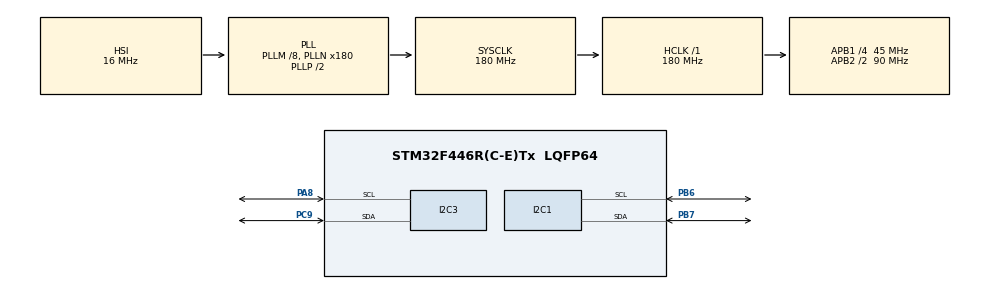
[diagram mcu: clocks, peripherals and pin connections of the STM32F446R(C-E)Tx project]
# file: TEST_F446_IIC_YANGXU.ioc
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Mcu.Family=STM32F4
Mcu.Name=STM32F446R(C-E)Tx
Mcu.Package=LQFP64
NVIC.PriorityGroup=NVIC_PRIORITYGROUP_4
PA13.Mode=Serial_Wire
PA13.Signal=SYS_JTMS-SWDIO
PA14.Mode=Serial_Wire
PA14.Signal=SYS_JTCK-SWCLK
PA8.Mode=I2C
PA8.Signal=I2C3_SCL
PB6.Mode=I2C
PB6.Signal=I2C1_SCL
PB7.Mode=I2C
PB7.Signal=I2C1_SDA
PC9.Mode=I2C
PC9.Signal=I2C3_SDA
PH0-OSC_IN.Mode=HSE-External-Oscillator
PH0-OSC_IN.Signal=RCC_OSC_IN
PH1-OSC_OUT.Mode=HSE-External-Oscillator
PH1-OSC_OUT.Signal=RCC_OSC_OUT
ProjectManager.HeapSize=0x200
ProjectManager.StackSize=0x400
ProjectManager.TargetToolchain=MDK-ARM V5
RCC.AHBFreq_Value=180000000
RCC.APB1CLKDivider=RCC_HCLK_DIV4
RCC.APB1Freq_Value=45000000
RCC.APB1TimFreq_Value=90000000
RCC.APB2CLKDivider=RCC_HCLK_DIV2
RCC.APB2Freq_Value=90000000
RCC.APB2TimFreq_Value=180000000
RCC.CortexFreq_Value=180000000
RCC.HCLKFreq_Value=180000000
RCC.PLLM=8
RCC.PLLN=180
RCC.SYSCLKFreq_VALUE=180000000
RCC.SYSCLKSource=RCC_SYSCLKSOURCE_PLLCLK
RCC.USBFreq_Value=180000000
RCC.VCOOutputFreq_Value=360000000
board=custom

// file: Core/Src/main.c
/* USER CODE BEGIN Header */
/**
  ******************************************************************************
  * @file           : main.c
  * @brief          : Main program body
  ******************************************************************************
  * @attention
  *
  * Copyright (c) 2023 STMicroelectronics.
  * All rights reserved.
  *
  * This software is licensed under terms that can be found in the LICENSE file
  * in the root directory of this software component.
  * If no LICENSE file comes with this software, it is provided AS-IS.
  *
  ******************************************************************************
  */
/* USER CODE END Header */
#include "main.h"
#include "i2c.h"
#include "gpio.h"

void SystemClock_Config(void);

/* USER CODE BEGIN 0 */
void WriteCmd(unsigned char I2C_Command)//写命令
	{
		HAL_I2C_Mem_Write(&hi2c1, 0x78, 0x00,I2C_MEMADD_SIZE_8BIT,&I2C_Command,1,10000);
	}

	void WriteDat(unsigned char fill_Data)
	{
		HAL_I2C_Mem_Write(&hi2c1, 0x78, 0x40,I2C_MEMADD_SIZE_8BIT,&fill_Data,1,10000);
	}
	void OLED_Fill(unsigned char fill_Data)//全屏填充
	{
		unsigned char m,n;
		for(m=0;m<8;m++)
		{
			WriteCmd(0xb0+m);		//page0-page1
			WriteCmd(0x00);		//low column start address
			WriteCmd(0x10);		//high column start address
			for(n=0;n<128;n++)
				{
					WriteDat(fill_Data);
				}
		}
	}

	void OLED_SetPos(unsigned char x, unsigned char y) //设置起始点坐标
{
	WriteCmd(0xb0+y);
	WriteCmd(((x&0xf0)>>4)|0x10);
	WriteCmd((x&0x0f)|0x01);
}
//展现中文

void OLED_CLS(void)//清屏
{
	OLED_Fill(0x00);
}

void OLED_OFF(void)
{
	WriteCmd(0X8D);  //设置电荷泵
	WriteCmd(0X10);  //关闭电荷泵
	WriteCmd(0XAE);  //OLED休眠
}
void OLED_ON(void)
{
	WriteCmd(0X8D);  //设置电荷泵
	WriteCmd(0X14);  //开启电荷泵
	WriteCmd(0XAF);  //OLED唤醒
}

/* USER CODE END 0 */

/* USER CODE END 0 */

int main(void)
{

  /* MCU Configuration--------------------------------------------------------*/

  /* Reset of all peripherals, Initializes the Flash interface and the Systick. */
  HAL_Init();

  /* Configure the system clock */
  SystemClock_Config();

  /* Initialize all configured peripherals */
  MX_GPIO_Init();
  MX_I2C1_Init();
  MX_I2C3_Init();

  /* Infinite loop */
  while (1)
  {

    /* USER CODE BEGIN 3 */
		OLED_Fill(0xFF);//全屏点亮
		HAL_Delay(2000);
		OLED_Fill(0x00);//全屏灭
		HAL_Delay(2000);
  }
  /* USER CODE END 3 */
}

void SystemClock_Config(void)
{
  RCC_OscInitTypeDef RCC_OscInitStruct = {0};
  RCC_ClkInitTypeDef RCC_ClkInitStruct = {0};

  /** Configure the main internal regulator output voltage
  */
  __HAL_RCC_PWR_CLK_ENABLE();
  __HAL_PWR_VOLTAGESCALING_CONFIG(PWR_REGULATOR_VOLTAGE_SCALE1);

  /** Initializes the RCC Oscillators according to the specified parameters
  * in the RCC_OscInitTypeDef structure.
  */
  RCC_OscInitStruct.OscillatorType = RCC_OSCILLATORTYPE_HSI;
  RCC_OscInitStruct.HSIState = RCC_HSI_ON;
  RCC_OscInitStruct.HSICalibrationValue = RCC_HSICALIBRATION_DEFAULT;
  RCC_OscInitStruct.PLL.PLLState = RCC_PLL_ON;
  RCC_OscInitStruct.PLL.PLLSource = RCC_PLLSOURCE_HSI;
  RCC_OscInitStruct.PLL.PLLM = 8;
  RCC_OscInitStruct.PLL.PLLN = 180;
  RCC_OscInitStruct.PLL.PLLP = RCC_PLLP_DIV2;
  RCC_OscInitStruct.PLL.PLLQ = 2;
  RCC_OscInitStruct.PLL.PLLR = 2;
  if (HAL_RCC_OscConfig(&RCC_OscInitStruct) != HAL_OK)
  {
    Error_Handler();
  }

  /** Activate the Over-Drive mode
  */
  if (HAL_PWREx_EnableOverDrive() != HAL_OK)
  {
    Error_Handler();
  }

  /** Initializes the CPU, AHB and APB buses clocks
  */
  RCC_ClkInitStruct.ClockType = RCC_CLOCKTYPE_HCLK|RCC_CLOCKTYPE_SYSCLK
                              |RCC_CLOCKTYPE_PCLK1|RCC_CLOCKTYPE_PCLK2;
  RCC_ClkInitStruct.SYSCLKSource = RCC_SYSCLKSOURCE_PLLCLK;
  RCC_ClkInitStruct.AHBCLKDivider = RCC_SYSCLK_DIV1;
  RCC_ClkInitStruct.APB1CLKDivider = RCC_HCLK_DIV4;
  RCC_ClkInitStruct.APB2CLKDivider = RCC_HCLK_DIV2;

  if (HAL_RCC_ClockConfig(&RCC_ClkInitStruct, FLASH_LATENCY_5) != HAL_OK)
  {
    Error_Handler();
  }
}

void Error_Handler(void)
{
  __disable_irq();
  while (1)
  {
  }
}
